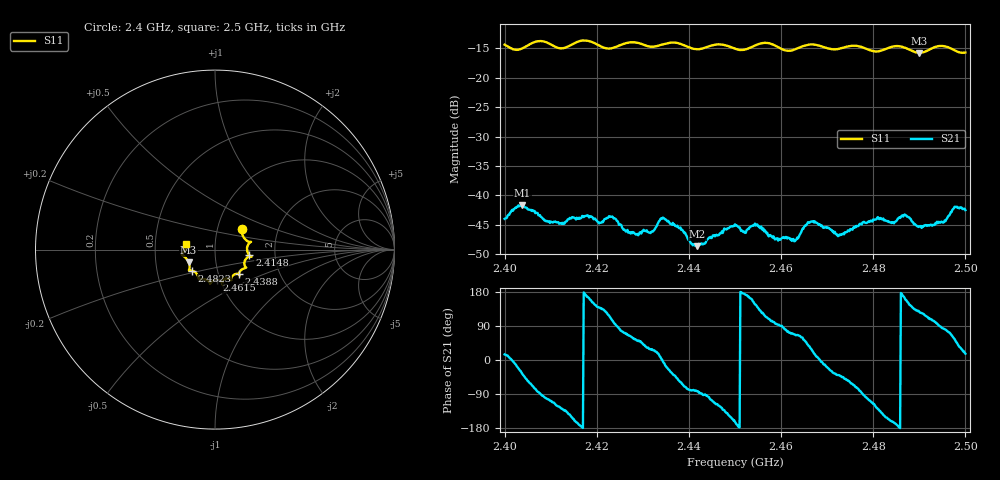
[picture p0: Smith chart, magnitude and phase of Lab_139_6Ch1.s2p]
# Hz S RI R 50
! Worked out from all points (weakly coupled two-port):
!   601 points, 2.4 GHz to 2.5 GHz, reference 50 ohm
!   highest |S21| = -41.65 dB at 2.4038 GHz (marker M1); lowest = -48.7 dB at 2.4418 GHz (marker M2)
!   lowest |S11| = -15.8 dB at 2.49 GHz (marker M3), VSWR 1.39, Z = 36.8 - j5.31 ohm
!   |S11| at or under -10 dB: start of sweep to end of sweep
!   S12 and S22 are empty: the file has one direction only
!   S11 on the Smith chart (normalised r, x): 2.4 GHz: 1.31, +0.32; 2.4148 GHz: 1.47, -0.10; 2.4388 GHz: 1.25, -0.35; 2.4615 GHz: 0.96, -0.34; 2.4823 GHz: 0.75, -0.18; 2.5 GHz: 0.72, +0.04
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2.4e9  0.1517 0.1172  0.00608 0.0016  0 0  0 0
2.403833e9  0.1687 0.0572  0.00668 -0.00489  0 0  0 0
2.409333e9  0.1946 0.0394  -0.00139 -0.0058  0 0  0 0
2.414833e9  0.1913 -0.0315  -0.00589 -0.00273  0 0  0 0
2.416667e9  0.2033 -0.0399  -0.00639 -0.000472  0 0  0 0
2.423167e9  0.1639 -0.0699  -0.00199 0.00624  0 0  0 0
2.428667e9  0.1717 -0.1013  0.00289 0.00363  0 0  0 0
2.433333e9  0.1358 -0.1295  0.00557 0.00173  0 0  0 0
2.438833e9  0.132 -0.1368  0.00188 -0.00449  0 0  0 0
2.441833e9  0.1032 -0.1414  0.000508 -0.00365  0 0  0 0
2.45e9  0.0727 -0.1616  -0.00541 -0.00162  0 0  0 0
2.456667e9  0.044 -0.1935  -0.00198 0.00445  0 0  0 0
2.4615e9  0.0112 -0.1695  0.00107 0.00422  0 0  0 0
2.463333e9  -0.0141 -0.1762  0.00174 0.00383  0 0  0 0
2.466667e9  -0.0272 -0.1906  0.00532 0.0027  0 0  0 0
2.472667e9  -0.0673 -0.1637  0.00353 -0.00298  0 0  0 0
2.482333e9  -0.1278 -0.1179  -0.00508 -0.00337  0 0  0 0
2.483333e9  -0.1376 -0.1164  -0.0054 -0.0024  0 0  0 0
2.486833e9  -0.1434 -0.1098  -0.00655 0.00198  0 0  0 0
2.49e9  -0.1472 -0.0701  -0.00331 0.00431  0 0  0 0
2.494667e9  -0.1847 -0.028  0.000237 0.00589  0 0  0 0
2.5e9  -0.1615 0.0297  0.00715 0.00214  0 0  0 0
